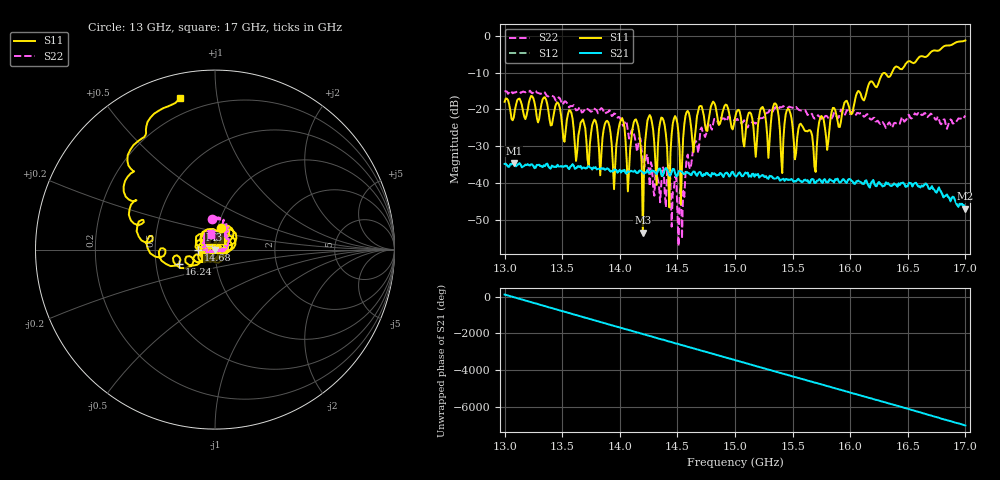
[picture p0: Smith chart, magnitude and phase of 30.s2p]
!Keysight Technologies,P9374A,MY57211807,A.19.30.04
!Date: Friday, May 01, 2026 14:45:21
!Correction: S11(C  2-Port  )
!S21(C  2-Port  )
!S12(C  2-Port  )
!S22(C  2-Port  )
!S2P File: Measurements: S11, S21, S12, S22:
# Hz S  RI  R 50
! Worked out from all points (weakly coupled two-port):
!   401 points, 13 GHz to 17 GHz, reference 50 ohm
!   highest |S21| = -34.57 dB at 13.08 GHz (marker M1); lowest = -47.0 dB at 17 GHz (marker M2)
!   lowest |S11| = -53.6 dB at 14.2 GHz (marker M3), VSWR 1.00, Z = 49.8 + j0.034 ohm
!   |S11| at or under -10 dB: start of sweep to 16.36 GHz
!   |S22| runs from -57.2 to -14.9 dB; largest |S21 - S12| = 0.00082
!   S11 on the Smith chart (normalised r, x): 13 GHz: 1.03, +0.26; 14.68 GHz: 0.83, -0.00; 16.24 GHz: 0.66, -0.11; 17 GHz: 0.12, +0.79
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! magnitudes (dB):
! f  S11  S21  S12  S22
! 13 GHz  -17.9  -34.8  -34.6  -15.2
! 13.08 GHz  -22.2  -34.6  -34.6  -15.4
! 13.67 GHz  -23.2  -36.1  -36.0  -20.8
! 13.83 GHz  -37.9  -36.3  -36.4  -19.9
! 13.89 GHz  -23.1  -36.1  -36.1  -20.8
! 13.95 GHz  -41.7  -36.3  -36.4  -21.1
! 14.02 GHz  -22.3  -36.7  -36.6  -23.8
! 14.07 GHz  -42.3  -36.9  -36.9  -25.7
! 14.14 GHz  -22.7  -37.1  -36.9  -29.4
! 14.2 GHz  -53.6  -37.1  -37.1  -34.1
! 14.25 GHz  -22.1  -37.2  -37.3  -36.1
! 14.34 GHz  -25.4  -36.1  -36.2  -40.4
! 14.38 GHz  -23.0  -37.5  -37.4  -36.1
! 14.43 GHz  -46.6  -38.0  -37.8  -34.9
! 14.48 GHz  -21.8  -37.4  -37.3  -38.3
! 14.52 GHz  -31.4  -36.7  -36.8  -42.7
! 14.68 GHz  -20.5  -37.4  -37.3  -31.9
! 15 GHz  -22.4  -38.1  -38.0  -23.1
! 15.67 GHz  -27.2  -38.9  -38.8  -21.4
! 16.24 GHz  -13.3  -40.1  -40.2  -23.1
! 16.34 GHz  -11.1  -40.5  -40.5  -23.5
! 17 GHz  -1.2  -47.0  -46.9  -21.7
